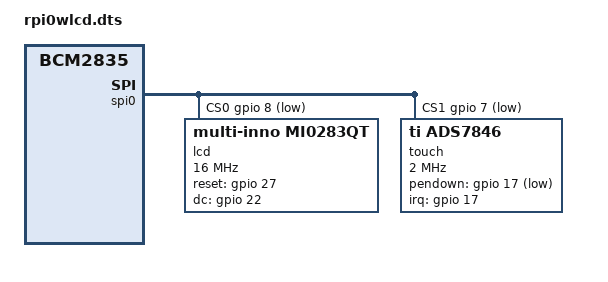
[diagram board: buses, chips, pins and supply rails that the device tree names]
/dts-v1/;
/plugin/;

/ {
	compatible = "brcm,bcm2835";

	fragment@0 {
		target = <&spi0_cs_pins>;

		frag0: __overlay__ {
			brcm,pins = <8 7>;
		};
	};


	fragment@1 {
		target = <&spidev0>;

		frag1: __overlay__ {
			status = "disabled";
		};
	};


	fragment@2 {
		target = <&spidev1>;

		frag2: __overlay__ {
			status = "disabled";
		};
	};

	fragment@3 {
		target = <&spi0>;

		frag3: __overlay__ {
			#address-cells = <1>;
			#size-cells = <0>;

			cs-gpios = <&gpio 8 1>, <&gpio 7 1>;
			status = "okay";

			lcd: lcd_spi@0 {
				compatible = "multi-inno,mi0283qt", "mi0283qt";
				reg = <0>;
				spi-max-frequency = <16000000>; /*<32000000>;*/
				rotation = <270>;
				bgr;
				fps = <10>;
				buswidth = <8>;
				reset-gpios = <&gpio 27 0>;
				dc-gpios = <&gpio 22 0>;
				debug = <3>;
			};

			touch: touch_spi@1 {
				compatible = "ti,ads7846";
				reg = <1>;
				spi-max-frequency = <2000000>;
				interrupts = <17 2>;
				interrupt-parent = <&gpio>;
				pendown-gpio = <&gpio 17 1>;
				ti,x-plate-ohms = /bits/ 16 <60>;
				ti,pressure-max = /bits/ 16 <255>;
			};
		};
	};

	/*
	fragment@4 {
		// Enable power for GPU
		target = <&v3d>;

		frag4: __overlay__ {
			status = "okay";
		};
	};


	fragment@5 {
		// Enable GPU
		target = <&gpu>;

		frag5: __overlay__ {
			status = "okay";
		};
	};
	*/
};

/*
# Compile with
dtc -@ -I dts -O dtb -o rpi0wlcd.dtbo rpi0wlcd.dts

# Hardware pins
11 TP_IRQ		GPIO17	(GPIO_GEN0)	Touch Panel interrupt
12 KEY1			GPIO18	(GPIO_GEN1)	Key
13 RST			GPIO27	(GPIO_GEN2)	Reset
15 LCD_RS		GPIO22	(GPIO_GEN3)	LCD Instruction/Data
16 KEY2			GPIO23	(GPIO_GEN4)	KEY
18 KEY3			GPIO24	(GPIO_GEN5)	KEY
19 LCD_SI/TP_SI		GPIO10	(SPI_MOSI)	SPI data in LCD/Touch Panel
21 TP_SO		GPIO9	(SPI_MISO)	SPI data out Touch Panel
23 LCD_SCK/TP_SCK	GPIO11	(SPI_SCLK)	SPI clock LCD/Touch Panel
24 LCD_CS		GPIO8	(SPI_CE0_N)	LCD chip selection, low active
26 TP_CS		GPIO7	(SPI_CE1_N)	Touch P. chip sel., low active

# /etc/init.d/S50rpi0wlcd
modprobe spi_bcm3835
modprobe fb_ili9341
modprobe ads7846

# myfps.sh
count=777;start=$(date +%s);i=0;while [ $i -ne $count ];do cat /dev/urandom > /dev/fb1 2> /dev/null;i=$(($i+1));done;stop=$(date +%s);echo FPS: $(($count/($stop-$start)))

# cmdline.txt
fbcon=map:1

# GPU
modprobe vc4 # GPU
*/
